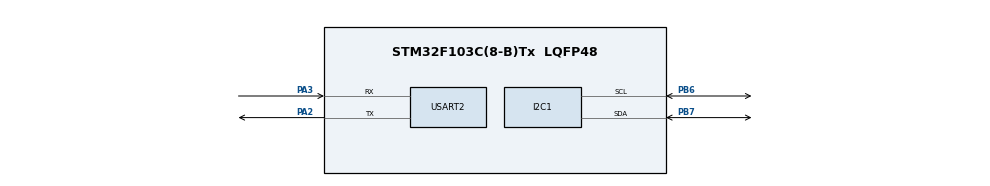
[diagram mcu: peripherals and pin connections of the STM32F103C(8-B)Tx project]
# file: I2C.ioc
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Mcu.Family=STM32F1
Mcu.Name=STM32F103C(8-B)Tx
Mcu.Package=LQFP48
NVIC.PriorityGroup=NVIC_PRIORITYGROUP_4
PA13.Mode=Serial_Wire
PA13.Signal=SYS_JTMS-SWDIO
PA14.Mode=Serial_Wire
PA14.Signal=SYS_JTCK-SWCLK
PA2.Mode=Asynchronous
PA2.Signal=USART2_TX
PA3.Mode=Asynchronous
PA3.Signal=USART2_RX
PB6.Mode=I2C
PB6.Signal=I2C1_SCL
PB7.Mode=I2C
PB7.Signal=I2C1_SDA
PD0-OSC_IN.Mode=HSE-External-Oscillator
PD0-OSC_IN.Signal=RCC_OSC_IN
PD1-OSC_OUT.Mode=HSE-External-Oscillator
PD1-OSC_OUT.Signal=RCC_OSC_OUT
ProjectManager.HeapSize=0x200
ProjectManager.StackSize=0x400
ProjectManager.TargetToolchain=MDK-ARM V5.32
RCC.APB1Freq_Value=8000000
RCC.APB2Freq_Value=8000000
RCC.SYSCLKSource=RCC_SYSCLKSOURCE_PLLCLK
USART2.VirtualMode=VM_ASYNC
board=custom

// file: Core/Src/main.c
/* USER CODE BEGIN Header */
/**
  ******************************************************************************
  * @file           : main.c
  * @brief          : Main program body
  ******************************************************************************
  * @attention
  *
  * Copyright (c) 2025 STMicroelectronics.
  * All rights reserved.
  *
  * This software is licensed under terms that can be found in the LICENSE file
  * in the root directory of this software component.
  * If no LICENSE file comes with this software, it is provided AS-IS.
  *
  ******************************************************************************
  */
/* USER CODE END Header */
#include "main.h"

/* USER CODE BEGIN Includes */
#include <stdio.h>
/* USER CODE END Includes */

I2C_HandleTypeDef hi2c1;

UART_HandleTypeDef huart2;

/* USER CODE BEGIN PV */
uint8_t cmd = 0, user_reg = 0;
uint8_t receive_array[3];
float temp = 0;
/* USER CODE END PV */

void SystemClock_Config(void);
static void MX_GPIO_Init(void);
static void MX_I2C1_Init(void);
static void MX_USART2_UART_Init(void);

int main(void)
{

  /* MCU Configuration--------------------------------------------------------*/

  /* Reset of all peripherals, Initializes the Flash interface and the Systick. */
  HAL_Init();

  /* Configure the system clock */
  SystemClock_Config();

  /* Initialize all configured peripherals */
  MX_GPIO_Init();
  MX_I2C1_Init();
  MX_USART2_UART_Init();

  /* Infinite loop */
  /* USER CODE BEGIN WHILE */
  while (1)
  {
		cmd = 0xe3;
		HAL_I2C_Master_Transmit(&hi2c1, 0x40<<1, &cmd, 1,100);
		HAL_I2C_Master_Receive(&hi2c1, 0x40<<1, receive_array, 3, 100);
		temp = -46.85 + 175.72*((((uint16_t)(receive_array[0]))<<8) | receive_array[1])/65536.0;
		HAL_Delay(1000);

		printf("temperature = %f\r\n",temp);
    /* USER CODE END WHILE */

  }
}

void SystemClock_Config(void)
{
  RCC_OscInitTypeDef RCC_OscInitStruct = {0};
  RCC_ClkInitTypeDef RCC_ClkInitStruct = {0};

  /** Initializes the RCC Oscillators according to the specified parameters
  * in the RCC_OscInitTypeDef structure.
  */
  RCC_OscInitStruct.OscillatorType = RCC_OSCILLATORTYPE_HSI;
  RCC_OscInitStruct.HSIState = RCC_HSI_ON;
  RCC_OscInitStruct.HSICalibrationValue = RCC_HSICALIBRATION_DEFAULT;
  RCC_OscInitStruct.PLL.PLLState = RCC_PLL_ON;
  RCC_OscInitStruct.PLL.PLLSource = RCC_PLLSOURCE_HSI_DIV2;
  RCC_OscInitStruct.PLL.PLLMUL = RCC_PLL_MUL2;
  if (HAL_RCC_OscConfig(&RCC_OscInitStruct) != HAL_OK)
  {
    Error_Handler();
  }

  /** Initializes the CPU, AHB and APB buses clocks
  */
  RCC_ClkInitStruct.ClockType = RCC_CLOCKTYPE_HCLK|RCC_CLOCKTYPE_SYSCLK
                              |RCC_CLOCKTYPE_PCLK1|RCC_CLOCKTYPE_PCLK2;
  RCC_ClkInitStruct.SYSCLKSource = RCC_SYSCLKSOURCE_PLLCLK;
  RCC_ClkInitStruct.AHBCLKDivider = RCC_SYSCLK_DIV1;
  RCC_ClkInitStruct.APB1CLKDivider = RCC_HCLK_DIV1;
  RCC_ClkInitStruct.APB2CLKDivider = RCC_HCLK_DIV1;

  if (HAL_RCC_ClockConfig(&RCC_ClkInitStruct, FLASH_LATENCY_0) != HAL_OK)
  {
    Error_Handler();
  }
}

static void MX_I2C1_Init(void)
{

  hi2c1.Instance = I2C1;
  hi2c1.Init.ClockSpeed = 100000;
  hi2c1.Init.DutyCycle = I2C_DUTYCYCLE_2;
  hi2c1.Init.OwnAddress1 = 0;
  hi2c1.Init.AddressingMode = I2C_ADDRESSINGMODE_7BIT;
  hi2c1.Init.DualAddressMode = I2C_DUALADDRESS_DISABLE;
  hi2c1.Init.OwnAddress2 = 0;
  hi2c1.Init.GeneralCallMode = I2C_GENERALCALL_DISABLE;
  hi2c1.Init.NoStretchMode = I2C_NOSTRETCH_DISABLE;
  if (HAL_I2C_Init(&hi2c1) != HAL_OK)
  {
    Error_Handler();
  }

}

static void MX_USART2_UART_Init(void)
{

  huart2.Instance = USART2;
  huart2.Init.BaudRate = 115200;
  huart2.Init.WordLength = UART_WORDLENGTH_8B;
  huart2.Init.StopBits = UART_STOPBITS_1;
  huart2.Init.Parity = UART_PARITY_NONE;
  huart2.Init.Mode = UART_MODE_TX_RX;
  huart2.Init.HwFlowCtl = UART_HWCONTROL_NONE;
  huart2.Init.OverSampling = UART_OVERSAMPLING_16;
  if (HAL_UART_Init(&huart2) != HAL_OK)
  {
    Error_Handler();
  }

}

static void MX_GPIO_Init(void)
{

  /* GPIO Ports Clock Enable */
  __HAL_RCC_GPIOD_CLK_ENABLE();
  __HAL_RCC_GPIOA_CLK_ENABLE();
  __HAL_RCC_GPIOB_CLK_ENABLE();

}

/* USER CODE BEGIN 4 */
struct __FILE{
  int handle;
  /* Whatever you require here. If the only file you are using is */
  /* standard output using printf() for debugging, no file handling */
  /* is required. */
};
FILE __stdout;

int fputc(int ch, FILE *f){
	HAL_UART_Transmit(&huart2, (uint8_t *)&ch, 1, 0xFFFF);
  return ch;
}

int ferror(FILE *f){
  /* Your implementation of ferror(). */
  return 0;
}
/* USER CODE END 4 */

void Error_Handler(void)
{
  __disable_irq();
  while (1)
  {
  }
}
